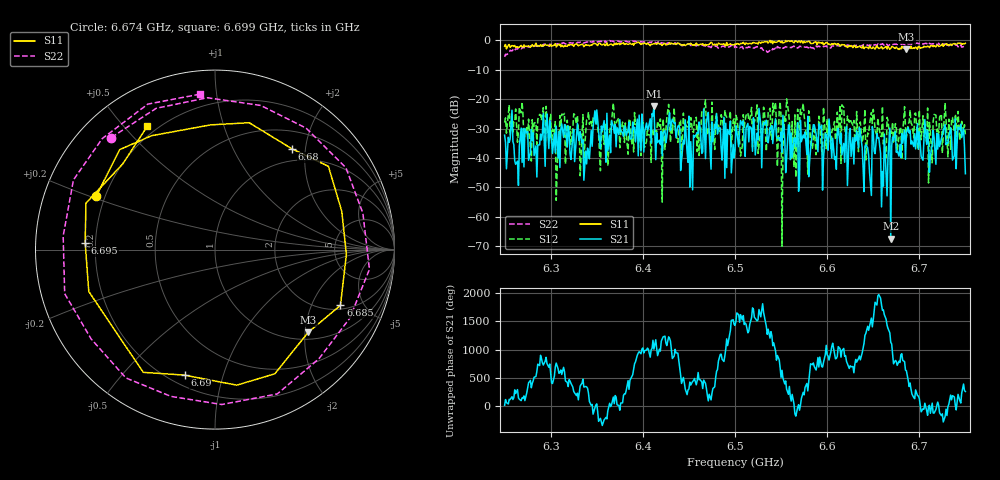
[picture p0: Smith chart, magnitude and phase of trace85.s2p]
# Hz S RI R 50
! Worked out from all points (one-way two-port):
!   401 points, 6.25 GHz to 6.75 GHz, reference 50 ohm
!   highest |S21| = -22.50 dB at 6.412 GHz (marker M1); lowest = -67.3 dB at 6.669 GHz (marker M2)
!   lowest |S11| = -3.2 dB at 6.686 GHz (marker M3), VSWR 5.54, Z = 58.4 - j104 ohm
!   |S11| at or under -10 dB: nowhere
!   |S22| runs from -5.7 to -0.1 dB; largest |S21 - S12| = 0.12
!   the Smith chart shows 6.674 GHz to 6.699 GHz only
!   S11 on the Smith chart (normalised r, x): 6.674 GHz: 0.17, +0.21; 6.68 GHz: 0.78, +1.75; 6.685 GHz: 2.22, -3.32; 6.69 GHz: 0.26, -0.75; 6.695 GHz: 0.16, +0.02; 6.699 GHz: 0.16, +0.58
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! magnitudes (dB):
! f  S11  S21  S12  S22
! 6.25 GHz  -2.1  -32.2  -28.0  -5.7
! 6.334 GHz  -1.4  -35.0  -32.6  -0.6
! 6.349 GHz  -1.2  -28.4  -26.9  -0.8
! 6.362 GHz  -1.8  -37.5  -42.7  -0.5
! 6.412 GHz  -1.2  -22.5  -32.1  -0.8
! 6.418 GHz  -1.3  -34.0  -29.2  -0.6
! 6.5 GHz  -1.3  -37.4  -30.8  -1.8
! 6.584 GHz  -1.1  -31.2  -36.7  -2.6
! 6.634 GHz  -2.3  -36.6  -37.9  -1.8
! 6.645 GHz  -2.9  -39.1  -31.8  -1.9
! 6.651 GHz  -2.7  -37.7  -25.9  -1.7
! 6.668 GHz  -3.1  -29.8  -33.4  -1.5
! 6.669 GHz  -2.7  -67.3  -30.3  -1.3
! 6.674 GHz  -2.8  -31.0  -28.3  -1.4
! 6.68 GHz  -3.0  -39.9  -30.1  -1.3
! 6.685 GHz  -2.3  -40.4  -29.4  -1.5
! 6.686 GHz  -3.2  -31.3  -33.0  -1.2
! 6.69 GHz  -2.9  -30.7  -23.7  -1.2
! 6.695 GHz  -2.8  -31.7  -24.9  -1.1
! 6.699 GHz  -2.1  -37.0  -37.4  -1.2
! 6.745 GHz  -1.0  -28.5  -30.3  -1.6
! 6.75 GHz  -1.1  -45.3  -32.0  -2.3
